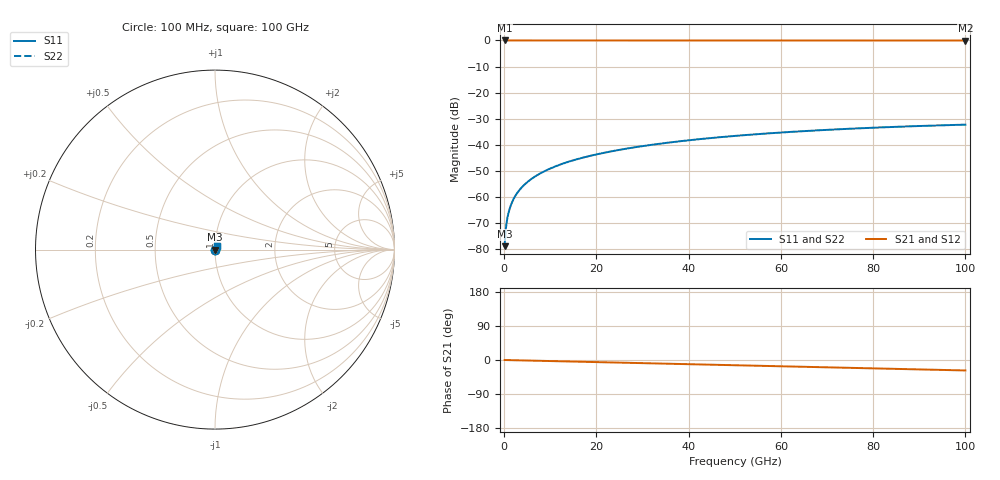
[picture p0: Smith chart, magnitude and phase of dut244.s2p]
! Touchstone file exported from HFSS 2026.1.0
!  File:  C:/ffzhzh/LocalFiles/Ansys_Project_Files/temp_train_TSV_244_1783508220_44152.aedt
!  Generated:  06:58:09 PM Jul  8, 2026
!  Design:  TSV
!  Project:  temp_train_TSV_244_1783508220_44152
! Variables:
!  h_bsmrdl = 2um
!  h_ox = 20um
!  h_rdl = 5um
!  h_sub = 51.6um
!  h_tmrdl = 5um
!  h_tsv = 51.6um
!  h_via = 3um
!  l_bsmrdl = 300um
!  l_sub = 419.66um
!  l_tmrdl = 200um
!  m_sub = 200um
!  pitch = 42.11um
!  r_tsv = 9.83um
!  s_tmrdl = 10um
!  w_bsmrdl = 18um
!  w_sub = 500um
!  w_tmrdl = 12um
!  x_tsv_center1 = 206um
!  x_tsv_center2 = 524um
!  x_tsv_center3 = 736um
!  x_tsv_center4 = 1054um
!  x_tsv_center5 = 1266um
!  x_tsv_center6 = 1584um
# GHz S MA R 50.000000
! Terminal data exported
! Port[1] = TSV1_1_T1
! Port[2] = TSV1_1_T2
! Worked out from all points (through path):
!   1000 points, 100 MHz to 100 GHz, reference 50 ohm
!   highest |S21| = 0.00 dB at 100 MHz (marker M1); lowest = 0.0 dB at 100 GHz (marker M2)
!   group delay of S21, straight-line fit = 766 fs
!   lowest |S11| = -78.8 dB at 100 MHz (marker M3), VSWR 1.00, Z = 50 + j0.0063 ohm
!   |S11| at or under -10 dB: start of sweep to end of sweep
!   |S22| runs from -78.8 to -32.3 dB; largest |S21 - S12| = 2.1e-15
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0.1  0.0001145 33.4  0.9999 -0.0  0.9999 -0.0  0.0001145 33.4
! Gamma 0 0 0 0
! Port Impedance 50 0 50 0
0.4  0.0002637 59.3  0.9999 -0.1  0.9999 -0.1  0.0002637 59.3
0.8  0.0004386 64.9  0.9998 -0.2  0.9998 -0.2  0.0004386 64.9
1.1  0.0005581 67.3  0.9998 -0.3  0.9998 -0.3  0.0005581 67.3
1.4  0.0006743 69.0  0.9998 -0.4  0.9998 -0.4  0.0006743 69.0
1.9  0.0008627 70.8  0.9997 -0.5  0.9997 -0.5  0.0008627 70.8
2.5  0.00108 72.1  0.9997 -0.7  0.9997 -0.7  0.00108 72.1
3.2  0.001324 73.1  0.9996 -0.9  0.9996 -0.9  0.001324 73.1
4  0.001594 74.0  0.9996 -1.1  0.9996 -1.1  0.001594 74.0
5  0.001923 74.9  0.9995 -1.4  0.9995 -1.4  0.001923 74.9
6.2  0.002313 75.7  0.9995 -1.7  0.9995 -1.7  0.002313 75.7
9  0.003207 76.5  0.9994 -2.5  0.9994 -2.5  0.003207 76.5
12.5  0.004301 76.7  0.9993 -3.5  0.9993 -3.5  0.004301 76.7
16.8  0.005607 76.5  0.9991 -4.6  0.9991 -4.6  0.005608 76.5
20.3  0.006649 76.3  0.999 -5.6  0.999 -5.6  0.006649 76.2
24.2  0.007792 75.8  0.9989 -6.7  0.9989 -6.7  0.007792 75.8
33.4  0.01042 74.3  0.9987 -9.2  0.9987 -9.2  0.01042 74.3
41.3  0.01258 72.7  0.9986 -11.4  0.9986 -11.4  0.01258 72.6
50.1  0.01486 70.6  0.9984 -13.8  0.9984 -13.8  0.01486 70.6
66.7  0.0187 66.5  0.9981 -18.4  0.9981 -18.4  0.0187 66.4
83.4  0.02189 62.2  0.9978 -23.0  0.9978 -23.0  0.02189 62.1
100  0.02438 58.0  0.9975 -27.6  0.9975 -27.6  0.02438 57.9
